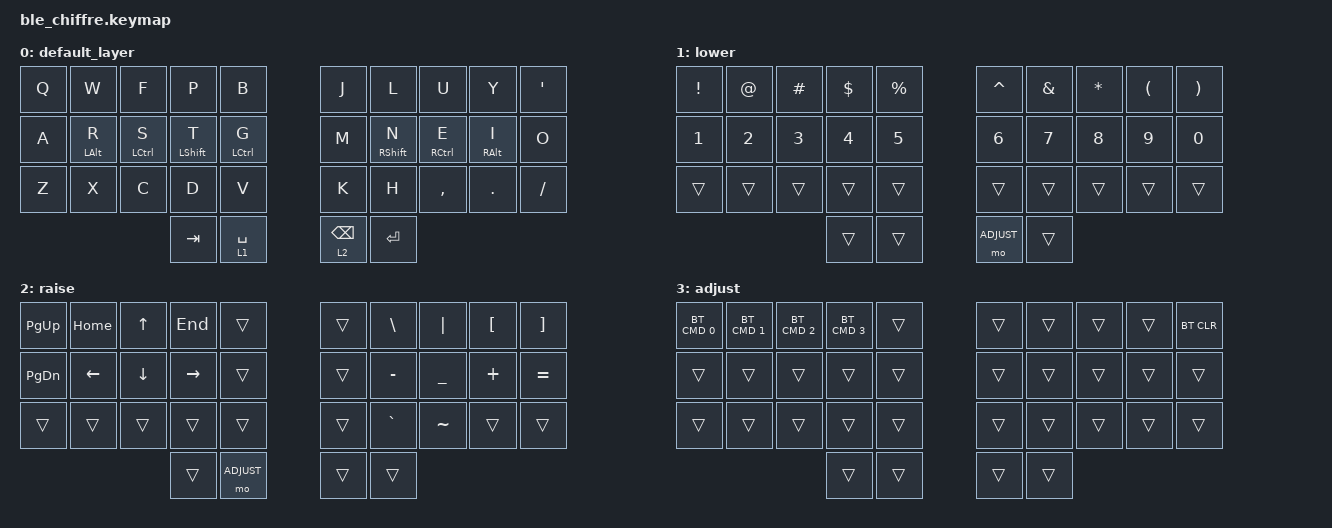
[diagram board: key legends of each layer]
/*
 * Copyright (c) 2020 The ZMK Contributors
 *
 * SPDX-License-Identifier: MIT
 */

#include <behaviors.dtsi>
#include <dt-bindings/zmk/keys.h>
#include <dt-bindings/zmk/bt.h>

#define DEFAULT 0
#define RAISE   1
#define LOWER   2
#define ADJUST  3

/ {
	behaviors {
		rst: boot_reset 
		{
			compatible = "zmk,behavior-hold-tap";
			label = "Bootloader Tap - Reset Hold";
			#binding-cells = <2>;
			tapping_term_ms = <200>;
            flavor = "balanced";
			bindings = <&reset>, <&bootloader>;
        };

        bh: layer_taps 
		{
			compatible = "zmk,behavior-hold-tap";
			label = "Layer-Tap";
			#binding-cells = <2>;
			tapping_term_ms = <200>;
            flavor = "tap-preferred";
			bindings = <&mo>, <&kp>;
        };

        hm: homerow_mods0 
		{
			compatible = "zmk,behavior-hold-tap";
			label = "homerow mods";
			#binding-cells = <2>;
			tapping_term_ms = <200>;
            flavor = "tap-preferred";
			bindings = <&kp>, <&kp>;
        };
        
        hm1: homerow_mods1 
		{
			compatible = "zmk,behavior-hold-tap";
			label = "homerow mods";
			#binding-cells = <2>;
			tapping_term_ms = <225>;
            flavor = "tap-preferred";
			bindings = <&kp>, <&kp>;
        };

        hm2: homerow_mods2 
		{
			compatible = "zmk,behavior-hold-tap";
			label = "homerow mods 2";
			#binding-cells = <2>;
			tapping_term_ms = <250>;
            flavor = "tap-preferred";
			bindings = <&kp>, <&kp>;
		};
	};
};



/ {
	combos {
		compatible = "zmk,combos";
		combo_backspce {
			timeout-ms = <25>;
			key-positions = <7 8>;
			bindings = <&kp BSPC>;
		};
		combo_esc 
		{
			timeout-ms = <25>;
			key-positions = <0 1>;
			bindings = <&kp ESC>;
		};
       		combo_del 
		{
			timeout-ms = <25>;
			key-positions = <8 9>;
			bindings = <&kp DEL>;
		};
       		combo_tab 
		{
			timeout-ms = <25>;
			key-positions = <1 2>;
			bindings = <&kp TAB>;
		};
       		combo_ret 
		{
			timeout-ms = <25>;
			key-positions = <18 19>;
			bindings = <&kp RET>;
		};
	};
};




/ {
    keymap 
	{
    compatible = "zmk,keymap";

    default_layer {
            bindings = <
    &kp Q &kp W &kp F &kp P &kp B &kp J &kp L &kp U &kp Y &kp SQT
    &kp A &hm LALT R &hm LCTRL S &hm LSHFT T &hm LCTRL G &kp M &hm RSHFT N &hm RCTRL E &hm RALT I &kp O
    &kp Z &kp X &kp C &kp D &kp V &kp K &kp H &kp COMMA &kp DOT &kp FSLH
    &kp TAB &bh 1 SPACE &bh 2 BSPC &kp RET
            >;
        };

    lower {
            bindings = <
    &kp EXCL &kp AT &kp POUND &kp DLLR &kp PRCNT &kp CARET &kp AMPS &kp STAR &kp LPAR &kp RPAR
    &kp N1 &kp N2 &kp N3 &kp N4 &kp N5 &kp N6 &kp N7 &kp N8 &kp N9 &kp N0
    &trans &trans &trans &trans &trans &trans &trans &trans &trans &trans
    &trans &trans &mo ADJUST &trans
            >;
        };

    raise {
            bindings = <
    &kp PG_UP &kp HOME &kp UP &kp END &trans &trans &kp BSLH &kp PIPE &kp LBKT &kp RBKT
    &kp PG_DN &kp LEFT &kp DOWN &kp RIGHT &trans &trans &kp MINUS &kp UNDER &kp PLUS &kp EQUAL
    &trans &trans &trans &trans &trans &trans &kp GRAVE &kp TILDE &trans &trans
    &trans &mo ADJUST &trans &trans
            >;
        };
        
    adjust {
            bindings = <
    &bt BT_SEL_CMD 0 &bt BT_SEL_CMD 1 &bt BT_SEL_CMD 2 &bt BT_SEL_CMD 3 &trans &trans &trans &trans &trans &bt BT_CLR
    &trans &trans &trans &trans &trans &trans &trans &trans &trans &trans
    &trans &trans &trans &trans &trans &trans &trans &trans &trans &trans
    &trans &trans &trans &trans
            >;
        };
    };
};
